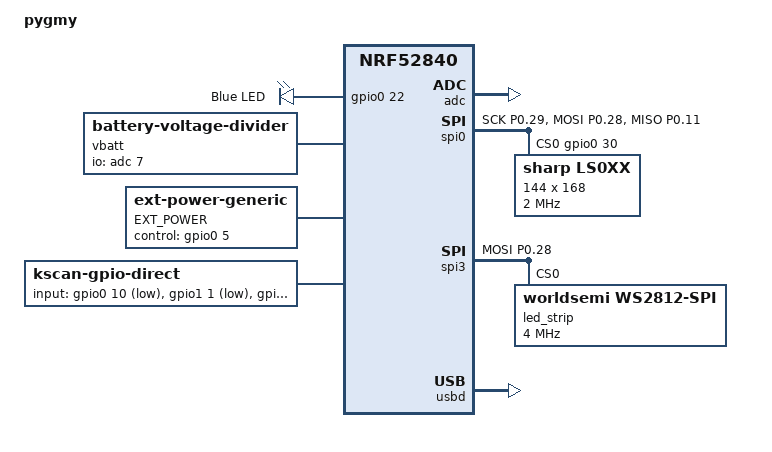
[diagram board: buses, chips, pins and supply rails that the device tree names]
/* 
 *  Created by Hugh Lam (2024)
 *
 *  Pygmy .dts file.
 */

/dts-v1/;
#include <nordic/nrf52840_qiaa.dtsi>
#include <dt-bindings/zmk/matrix_transform.h>

// Display Pins
&pinctrl {
    spi0_default: spi0_default {
        group1 {
            psels = <NRF_PSEL(SPIM_SCK, 0, 29)>
                  , <NRF_PSEL(SPIM_MOSI, 0, 28)>
                  , <NRF_PSEL(SPIM_MISO, 0, 11)>    // Not connected
	          ;
        };
    };

    spi0_sleep: spi0_sleep {
        group1 {
            psels = <NRF_PSEL(SPIM_SCK, 0, 29)>
                  , <NRF_PSEL(SPIM_MOSI, 0, 28)>
                  , <NRF_PSEL(SPIM_MISO, 0, 11)>    // Not connected
	          ;
            low-power-enable;
        };
    };

    // RGB pins
    spi3_default: spi3_default {
        group1 {
            psels = <NRF_PSEL(SPIM_MOSI, 0, 28)>;
        };
    };

    spi3_sleep: spi3_sleep {
        group1 {
            psels = <NRF_PSEL(SPIM_MOSI, 0, 28)>;
            low-power-enable;
        };
    };
};


/ {
    model = "pygmy";
    compatible = "pygmy";
    chosen {
        zephyr,code-partition = &code_partition;
		zephyr,sram = &sram0;
		zephyr,flash = &flash0;
		zephyr,display = &ls0xx;
		zmk,kscan = &kscan;
		zmk,matrix_transform = &transform;
		zmk,battery = &vbatt;
		zephyr,console = &cdc_acm_uart;
        zmk,underglow = &led_strip;
    };

    leds {
        compatible = "gpio-leds";
        blue_led: led_0 {
			gpios = <&gpio0 22 GPIO_ACTIVE_HIGH>;
			label = "Blue LED";
        };
    };

    vbatt: vbatt {
        compatible = "zmk,battery-voltage-divider";
        io-channels = <&adc 7>;
        output-ohms = <2000000>;
		full-ohms = <(2000000 + 806000)>;
    };

    ext-power {
        compatible = "zmk,ext-power-generic";
		label = "EXT_POWER";
		control-gpios = <&gpio0 5 GPIO_ACTIVE_HIGH>;
		init-delay-ms = <50>;
    };

#define K(n) RC(0,n)
	transform: transform {
		compatible = "zmk,matrix-transform";
		columns = <10>;
		rows = <4>;

		map = <
        K(0)  K(1)  K(2)  K(3)  K(4)                  K(21) K(20) K(19) K(18) K(17)
        K(5)  K(6)  K(7)  K(8)  K(9)                  K(26) K(25) K(24) K(23) K(22) 
        K(10) K(11) K(12) K(13) K(14)                 K(31) K(30) K(29) K(28) K(27)
                          K(15) K(16)                 K(33) K(32)
	>;
	};
    kscan: kscan {
		compatible = "zmk,kscan-gpio-direct";
		label = "KSCAN";

        input-gpios
            = <&gpio0 10 (GPIO_ACTIVE_LOW | GPIO_PULL_UP)>  // 1
            , <&gpio1  1 (GPIO_ACTIVE_LOW | GPIO_PULL_UP)>  // 2
            , <&gpio0 23 (GPIO_ACTIVE_LOW | GPIO_PULL_UP)>  // 3
            , <&gpio0 12 (GPIO_ACTIVE_LOW | GPIO_PULL_UP)>  // ...
            , <&gpio0  6 (GPIO_ACTIVE_LOW | GPIO_PULL_UP)>

            , <&gpio1  6 (GPIO_ACTIVE_LOW | GPIO_PULL_UP)>
            , <&gpio1  3 (GPIO_ACTIVE_LOW | GPIO_PULL_UP)>
            , <&gpio0 21 (GPIO_ACTIVE_LOW | GPIO_PULL_UP)>  // same for left and right
            , <&gpio1  9 (GPIO_ACTIVE_LOW | GPIO_PULL_UP)>
            , <&gpio0 26 (GPIO_ACTIVE_LOW | GPIO_PULL_UP)>

            , <&gpio0  9 (GPIO_ACTIVE_LOW | GPIO_PULL_UP)>
            , <&gpio1  0 (GPIO_ACTIVE_LOW | GPIO_PULL_UP)>
            , <&gpio0 19 (GPIO_ACTIVE_LOW | GPIO_PULL_UP)>
            , <&gpio0  7 (GPIO_ACTIVE_LOW | GPIO_PULL_UP)>
            , <&gpio0  8 (GPIO_ACTIVE_LOW | GPIO_PULL_UP)>

            , <&gpio0  2 (GPIO_ACTIVE_LOW | GPIO_PULL_UP)>  // 16
            , <&gpio0  3 (GPIO_ACTIVE_LOW | GPIO_PULL_UP)>  // 17
            ;
	};
};

&adc {
	status = "okay";
};

&gpiote {
	status = "okay";
};

&gpio0 {
	status = "okay";
};

&gpio1 {
	status = "okay";
};

&spi0 {
    compatible = "nordic,nrf-spim";
	status = "okay";

	pinctrl-0 = <&spi0_default>;
	pinctrl-1 = <&spi0_default>;
	pinctrl-names = "default", "sleep";

	cs-gpios = <&gpio0 30 GPIO_ACTIVE_HIGH>;

    ls0xx: ls0xx@0 {
		compatible = "sharp,ls0xx";
		spi-max-frequency = <2000000>;
		reg = <0>;
		width = <144>;
		height = <168>;
		// disp-en-gpios = <&gpio0 23 GPIO_ACTIVE_HIGH>;
	};
};

&spi3 {
  compatible = "nordic,nrf-spim";
  status = "okay";

  pinctrl-0 = <&spi3_default>;
  pinctrl-1 = <&spi3_sleep>;
  pinctrl-names = "default", "sleep";

  led_strip: ws2812@0 {
    compatible = "worldsemi,ws2812-spi";

    /* SPI */
    reg = <0>; /* ignored, but necessary for SPI bindings */
    spi-max-frequency = <4000000>;

    /* WS2812 */
    chain-length = <17>; /* number of LEDs */
    spi-one-frame = <0x70>;
    spi-zero-frame = <0x40>;
    color-mapping = <LED_COLOR_ID_GREEN
                          LED_COLOR_ID_RED
                          LED_COLOR_ID_BLUE>;
  };
};

&usbd {
  status = "okay";
  compatible = "nordic,nrf-usbd";
  cdc_acm_uart: cdc_acm_uart {
    compatible = "zephyr,cdc-acm-uart";
    label = "CDC_ACM_0";
  };
};

&flash0 {
	/*
	 * For more information, see:
	 * http://docs.zephyrproject.org/latest/devices/dts/flash_partitions.html
	 */
	partitions {
		compatible = "fixed-partitions";
		#address-cells = <1>;
		#size-cells = <1>;

		sd_partition: partition@0 {
			reg = <0x00000000 0x00001000>;
		};
		code_partition: partition@1000 {
			reg = <0x00001000 0x000d3000>;
		};

		storage_partition: partition@d4000 {
			reg = <0x000d4000 0x00020000>;
		};

		boot_partition: partition@f4000 {
			reg = <0x000f4000 0x0000c000>;
		};
	};
};
